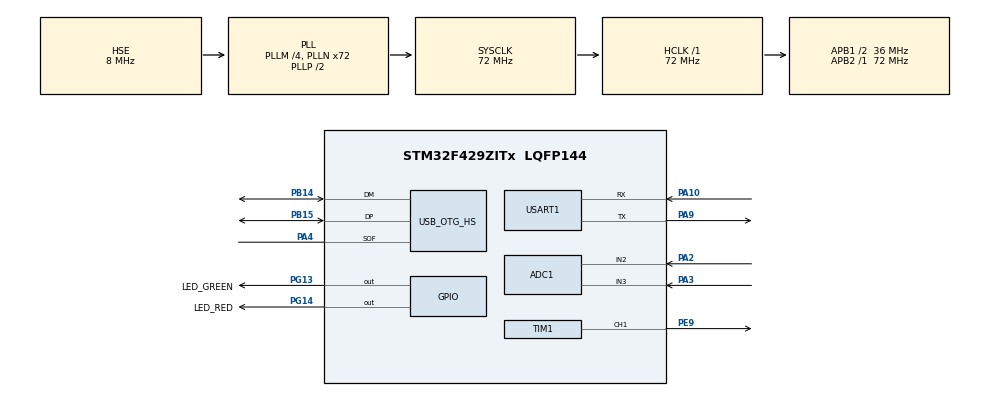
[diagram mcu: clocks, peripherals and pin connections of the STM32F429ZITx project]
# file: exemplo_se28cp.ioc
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ADC1.Channel-0\#ChannelRegularConversion=ADC_CHANNEL_2
ADC1.NbrOfConversionFlag=1
ADC1.Rank-0\#ChannelRegularConversion=1
ADC1.SamplingTime-0\#ChannelRegularConversion=ADC_SAMPLETIME_3CYCLES
ADC1.master=1
Dma.Request0=TIM1_CH1
Dma.TIM1_CH1.0.Direction=DMA_MEMORY_TO_PERIPH
Dma.TIM1_CH1.0.FIFOMode=DMA_FIFOMODE_DISABLE
Dma.TIM1_CH1.0.Instance=DMA2_Stream1
Dma.TIM1_CH1.0.MemDataAlignment=DMA_MDATAALIGN_HALFWORD
Dma.TIM1_CH1.0.MemInc=DMA_MINC_ENABLE
Dma.TIM1_CH1.0.Mode=DMA_NORMAL
Dma.TIM1_CH1.0.PeriphDataAlignment=DMA_PDATAALIGN_HALFWORD
Dma.TIM1_CH1.0.PeriphInc=DMA_PINC_DISABLE
Dma.TIM1_CH1.0.Priority=DMA_PRIORITY_VERY_HIGH
FREERTOS.INCLUDE_vTaskDelayUntil=1
FREERTOS.Tasks01=defaultTask,0,128,StartDefaultTask,Default,NULL,Dynamic,NULL,NULL
FREERTOS.configUSE_NEWLIB_REENTRANT=1
Mcu.Family=STM32F4
Mcu.Name=STM32F429ZITx
Mcu.Package=LQFP144
NVIC.DMA2_Stream1_IRQn=true\:5\:0\:false\:false\:true\:true\:false\:true
NVIC.OTG_HS_IRQn=true\:5\:0\:false\:false\:true\:true\:true\:true
NVIC.PriorityGroup=NVIC_PRIORITYGROUP_4
NVIC.TIM1_BRK_TIM9_IRQn=true\:5\:0\:false\:false\:true\:true\:true\:true
NVIC.TIM2_IRQn=true\:15\:0\:false\:false\:true\:false\:false\:true
NVIC.TimeBase=TIM2_IRQn
NVIC.TimeBaseIP=TIM2
NVIC.USART1_IRQn=true\:5\:0\:false\:false\:true\:true\:true\:true
PA10.Mode=Asynchronous
PA10.Signal=USART1_RX
PA13.Mode=Serial_Wire
PA13.Signal=SYS_JTMS-SWDIO
PA14.Mode=Serial_Wire
PA14.Signal=SYS_JTCK-SWCLK
PA2.Signal=ADCx_IN2
PA3.Signal=ADCx_IN3
PA4.Mode=Activate_SOF_FS
PA4.Signal=USB_OTG_HS_SOF
PA9.Mode=Asynchronous
PA9.Signal=USART1_TX
PB14.Mode=Device_Only_FS
PB14.Signal=USB_OTG_HS_DM
PB15.Mode=Device_Only_FS
PB15.Signal=USB_OTG_HS_DP
PE9.Signal=S_TIM1_CH1
PG13.GPIO_Label=LED_GREEN
PG13.Signal=GPIO_Output
PG14.GPIO_Label=LED_RED
PG14.Signal=GPIO_Output
PH0/OSC_IN.Mode=HSE-External-Oscillator
PH0/OSC_IN.Signal=RCC_OSC_IN
PH1/OSC_OUT.Mode=HSE-External-Oscillator
PH1/OSC_OUT.Signal=RCC_OSC_OUT
ProjectManager.HeapSize=0x200
ProjectManager.StackSize=0x400
ProjectManager.TargetToolchain=STM32CubeIDE
RCC.48MHZClocksFreq_Value=48000000
RCC.AHBFreq_Value=72000000
RCC.APB1CLKDivider=RCC_HCLK_DIV2
RCC.APB1Freq_Value=36000000
RCC.APB1TimFreq_Value=72000000
RCC.APB2Freq_Value=72000000
RCC.APB2TimFreq_Value=72000000
RCC.CortexFreq_Value=72000000
RCC.HCLKFreq_Value=72000000
RCC.HSE_VALUE=8000000
RCC.HSI_VALUE=16000000
RCC.LSE_VALUE=32768
RCC.PLLM=4
RCC.PLLN=72
RCC.PLLQ=3
RCC.SYSCLKFreq_VALUE=72000000
RCC.SYSCLKSource=RCC_SYSCLKSOURCE_PLLCLK
RCC.VCOOutputFreq_Value=144000000
SH.ADCx_IN2.0=ADC1_IN2,IN2
SH.ADCx_IN3.0=ADC1_IN3,IN3
SH.S_TIM1_CH1.0=TIM1_CH1,PWM Generation1 CH1
TIM1.AutoReloadPreload=TIM_AUTORELOAD_PRELOAD_ENABLE
TIM1.Channel-PWM\ Generation1\ CH1=TIM_CHANNEL_1
TIM1.Period=224
TIM9.Period=65000
USART1.VirtualMode=VM_ASYNC
USB_DEVICE.CLASS_NAME_HS=CDC
USB_DEVICE.VirtualMode-CDC_HS=Cdc
USB_DEVICE.VirtualModeHS=Cdc_HS
USB_OTG_HS.VirtualMode-Device_Only_FS=Device_Only_FS
VP_FREERTOS_VS_CMSIS_V1.Mode=CMSIS_V1
VP_SYS_VS_tim2.Mode=TIM2
VP_TIM1_VS_ClockSourceINT.Mode=Internal
VP_TIM9_VS_ClockSourceINT.Mode=Internal
VP_USB_DEVICE_VS_USB_DEVICE_CDC_HS.Mode=CDC_HS
board=custom

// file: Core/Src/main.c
/* USER CODE BEGIN Header */
/**
  ******************************************************************************
  * @file           : main.c
  * @brief          : Main program body
  ******************************************************************************
  * @attention
  *
  * Copyright (c) 2022 STMicroelectronics.
  * All rights reserved.
  *
  * This software is licensed under terms that can be found in the LICENSE file
  * in the root directory of this software component.
  * If no LICENSE file comes with this software, it is provided AS-IS.
  *
  ******************************************************************************
  */
/* USER CODE END Header */
#include "main.h"
#include "cmsis_os.h"
#include "usb_device.h"

/* USER CODE BEGIN Includes */
#include "usbd_cdc_if.h"
#include "FreeRTOS_CLI.h"
/* USER CODE END Includes */

ADC_HandleTypeDef hadc1;

TIM_HandleTypeDef htim1;
TIM_HandleTypeDef htim9;
DMA_HandleTypeDef hdma_tim1_ch1;

UART_HandleTypeDef huart1;

osThreadId defaultTaskHandle;
/* USER CODE BEGIN PV */
typedef struct led_t_ {
    uint32_t port_clock;
    GPIO_TypeDef *port_base;
    uint32_t port_pin;
    uint32_t time;
}led_t;
/* USER CODE END PV */

void SystemClock_Config(void);
static void MX_GPIO_Init(void);
static void MX_TIM9_Init(void);
static void MX_DMA_Init(void);
static void MX_TIM1_Init(void);
static void MX_USART1_UART_Init(void);
static void MX_ADC1_Init(void);
void StartDefaultTask(void const * argument);

/* USER CODE BEGIN 0 */
void task1(void *param){
    led_t *led = (led_t *)param;
	while(1){
		HAL_GPIO_TogglePin(led->port_base, led->port_pin);
		vTaskDelay(led->time);
	}
}

SemaphoreHandle_t sem_t2;
void task2(void *param){
	HAL_TIM_Base_Start_IT(&htim9);
    sem_t2 = xSemaphoreCreateBinary();

    while(1){
        xSemaphoreTake(sem_t2, portMAX_DELAY);
        HAL_GPIO_TogglePin(GPIOG, LED_RED_Pin);
    }
}

// Fast hsl2rgb algorithm: https://stackoverflow.com/questions/13105185/fast-algorithm-for-rgb-hsl-conversion
uint32_t hsl_to_rgb(uint8_t h, uint8_t s, uint8_t l) {
	if(l == 0) return 0;

	volatile uint8_t  r, g, b, lo, c, x, m;
	volatile uint16_t h1, l1, H;
	l1 = l + 1;
	if (l < 128)    c = ((l1 << 1) * s) >> 8;
	else            c = (512 - (l1 << 1)) * s >> 8;

	H = h * 6;              // 0 to 1535 (actually 1530)
	lo = H & 255;           // Low byte  = primary/secondary color mix
	h1 = lo + 1;

	if ((H & 256) == 0){
		x = h1 * c >> 8;          // even sextant, like red to yellow
	}
	else {
		x = (256 - h1) * c >> 8;  // odd sextant, like yellow to green
	}

	m = l - (c >> 1);
	switch(H >> 8) {       // High byte = sextant of colorwheel
	 case 0 : r = c; g = x; b = 0; break; // R to Y
	 case 1 : r = x; g = c; b = 0; break; // Y to G
	 case 2 : r = 0; g = c; b = x; break; // G to C
	 case 3 : r = 0; g = x; b = c; break; // C to B
	 case 4 : r = x; g = 0; b = c; break; // B to M
	 default: r = c; g = 0; b = x; break; // M to R
	}

	return (((uint32_t)r + m) << 16) | (((uint32_t)g + m) << 8) | ((uint32_t)b + m);
}

SemaphoreHandle_t sem_t3;

void HAL_TIM_PWM_PulseFinishedCallback(TIM_HandleTypeDef *htim)
{
	if (htim->Instance == TIM1) {
		portBASE_TYPE higher_task_woken = pdFALSE;
		HAL_TIM_PWM_Stop_DMA(htim, TIM_CHANNEL_1);

		xSemaphoreGiveFromISR(sem_t3, &higher_task_woken);
		portYIELD_FROM_ISR(higher_task_woken);
	}
}

#define LED_NUMBER	64
uint32_t color_buf[LED_NUMBER];
uint16_t pwmData[LED_NUMBER][24];

void WS2812_Send_buffer(uint32_t *color, uint32_t number_of_leds)
{
	for (int j=0; j<number_of_leds; j++) {
		for (int i=23; i>=0; i--)
		{
			if (color[j] & (1<<i))
			{
				pwmData[j][i] = 149;	// 66,6%
			}
			else {
				pwmData[j][i] = 74;		// 33,3%
			}
		}
	}

	HAL_TIM_PWM_Start_DMA(&htim1, TIM_CHANNEL_1, (uint32_t *)pwmData, 24 * number_of_leds);
	xSemaphoreTake(sem_t3, portMAX_DELAY);
}

void task3(void *param){
  /* Infinite loop */
  uint8_t angle = 0;
  const uint8_t angle_difference = 11;
  TickType_t last;

  sem_t3 = xSemaphoreCreateBinary();
  last = xTaskGetTickCount();
  while (1)
  {
	// Demo code for LED_NUMBER LEDs
	for(uint8_t i = 0; i < LED_NUMBER; i++) {
		// Calculate color
		color_buf[i] = hsl_to_rgb(angle + (i * angle_difference), 255, 127);
	}
	volatile TickType_t start = xTaskGetTickCount();
	WS2812_Send_buffer(color_buf, LED_NUMBER);
	volatile TickType_t finish = xTaskGetTickCount();
	(void)start;
	(void)finish;
	++angle;

	// Refresh 50 Hz
	vTaskDelayUntil(&last, 20);
  }
}

// Declares a semaphore structure for the UART
SemaphoreHandle_t sUART;

void HAL_UART_TxCpltCallback(UART_HandleTypeDef *huart){
    signed portBASE_TYPE pxHigherPriorityTaskWokenTX = pdFALSE;

    // Call the task that is sending the char
    xSemaphoreGiveFromISR(sUART, &pxHigherPriorityTaskWokenTX);
    portYIELD_FROM_ISR(pxHigherPriorityTaskWokenTX);
}

#include <string.h>
void task_serial(void *param){
  /* Infinite loop */
	int count = 0;
  char *string = "Teste de porta serial!\n\r";

  sUART = xSemaphoreCreateBinary();

  volatile TickType_t start = xTaskGetTickCount();
  while (1)
  {
	  //HAL_UART_Transmit(&huart1, (uint8_t *)string, strlen(string), 1000);

	  HAL_UART_Transmit_IT(&huart1, (uint8_t *)string, strlen(string));
      xSemaphoreTake(sUART, portMAX_DELAY);
	  //vTaskDelay(3);

	  count++;

	  volatile TickType_t stop = xTaskGetTickCount();
	  if ((stop - start) >= 1000){
		  start = stop;
	  }
  }
}

volatile int count_leftover = 0;
void task_cpu_leftover(void *param){
    TickType_t last;
    TickType_t frequency = 10;
    int i = 0;
    int result = 0;

    last = xTaskGetTickCount();

    while(1){
        for (i=0; i<1024; i++){
            result = result ^ i;
        }
        vTaskDelayUntil(&last, frequency);
        count_leftover++;
    }
}
/* USER CODE END 0 */

int main(void)
{

  /* MCU Configuration--------------------------------------------------------*/

  /* Reset of all peripherals, Initializes the Flash interface and the Systick. */
  HAL_Init();

  /* Configure the system clock */
  SystemClock_Config();

  /* Initialize all configured peripherals */
  MX_GPIO_Init();
  MX_TIM9_Init();
  MX_DMA_Init();
  MX_TIM1_Init();
  MX_USART1_UART_Init();
  MX_ADC1_Init();

  /* Create the thread(s) */
  /* definition and creation of defaultTask */
  osThreadDef(defaultTask, StartDefaultTask, osPriorityNormal, 2, 512);
  defaultTaskHandle = osThreadCreate(osThread(defaultTask), NULL);

  /* USER CODE BEGIN RTOS_THREADS */
  static led_t led_t1 = {0, GPIOG, LED_GREEN_Pin, 500};
  xTaskCreate(task1, "Tarefa 1", 256, &led_t1, 10, NULL);

  static led_t led_t2 = {0, GPIOG, LED_RED_Pin, 1000};
  xTaskCreate(task1, "Tarefa 2", 256, &led_t2, 9, NULL);

  //xTaskCreate(task2, "Tarefa 2", 256, NULL, 9, NULL);

  xTaskCreate(task3, "Tarefa 3", 256, NULL, 7, NULL);

  xTaskCreate(task_serial, "Tarefa serial", 256, NULL, 5, NULL);

  xTaskCreate(task_cpu_leftover, "Tarefa sobra cpu", 256, NULL, 1, NULL);
  /* USER CODE END RTOS_THREADS */

  /* Start scheduler */
  osKernelStart();

  /* We should never get here as control is now taken by the scheduler */
  /* Infinite loop */
  while (1)
  {

  }
}

void SystemClock_Config(void)
{
  RCC_OscInitTypeDef RCC_OscInitStruct = {0};
  RCC_ClkInitTypeDef RCC_ClkInitStruct = {0};

  /** Configure the main internal regulator output voltage
  */
  __HAL_RCC_PWR_CLK_ENABLE();
  __HAL_PWR_VOLTAGESCALING_CONFIG(PWR_REGULATOR_VOLTAGE_SCALE3);
  /** Initializes the RCC Oscillators according to the specified parameters
  * in the RCC_OscInitTypeDef structure.
  */
  RCC_OscInitStruct.OscillatorType = RCC_OSCILLATORTYPE_HSE;
  RCC_OscInitStruct.HSEState = RCC_HSE_ON;
  RCC_OscInitStruct.PLL.PLLState = RCC_PLL_ON;
  RCC_OscInitStruct.PLL.PLLSource = RCC_PLLSOURCE_HSE;
  RCC_OscInitStruct.PLL.PLLM = 4;
  RCC_OscInitStruct.PLL.PLLN = 72;
  RCC_OscInitStruct.PLL.PLLP = RCC_PLLP_DIV2;
  RCC_OscInitStruct.PLL.PLLQ = 3;
  if (HAL_RCC_OscConfig(&RCC_OscInitStruct) != HAL_OK)
  {
    Error_Handler();
  }
  /** Initializes the CPU, AHB and APB buses clocks
  */
  RCC_ClkInitStruct.ClockType = RCC_CLOCKTYPE_HCLK|RCC_CLOCKTYPE_SYSCLK
                              |RCC_CLOCKTYPE_PCLK1|RCC_CLOCKTYPE_PCLK2;
  RCC_ClkInitStruct.SYSCLKSource = RCC_SYSCLKSOURCE_PLLCLK;
  RCC_ClkInitStruct.AHBCLKDivider = RCC_SYSCLK_DIV1;
  RCC_ClkInitStruct.APB1CLKDivider = RCC_HCLK_DIV2;
  RCC_ClkInitStruct.APB2CLKDivider = RCC_HCLK_DIV1;

  if (HAL_RCC_ClockConfig(&RCC_ClkInitStruct, FLASH_LATENCY_2) != HAL_OK)
  {
    Error_Handler();
  }
}

static void MX_ADC1_Init(void)
{

  ADC_ChannelConfTypeDef sConfig = {0};

  /** Configure the global features of the ADC (Clock, Resolution, Data Alignment and number of conversion)
  */
  hadc1.Instance = ADC1;
  hadc1.Init.ClockPrescaler = ADC_CLOCK_SYNC_PCLK_DIV2;
  hadc1.Init.Resolution = ADC_RESOLUTION_12B;
  hadc1.Init.ScanConvMode = DISABLE;
  hadc1.Init.ContinuousConvMode = DISABLE;
  hadc1.Init.DiscontinuousConvMode = DISABLE;
  hadc1.Init.ExternalTrigConvEdge = ADC_EXTERNALTRIGCONVEDGE_NONE;
  hadc1.Init.ExternalTrigConv = ADC_SOFTWARE_START;
  hadc1.Init.DataAlign = ADC_DATAALIGN_RIGHT;
  hadc1.Init.NbrOfConversion = 1;
  hadc1.Init.DMAContinuousRequests = DISABLE;
  hadc1.Init.EOCSelection = ADC_EOC_SINGLE_CONV;
  if (HAL_ADC_Init(&hadc1) != HAL_OK)
  {
    Error_Handler();
  }
  /** Configure for the selected ADC regular channel its corresponding rank in the sequencer and its sample time.
  */
  sConfig.Channel = ADC_CHANNEL_2;
  sConfig.Rank = 1;
  sConfig.SamplingTime = ADC_SAMPLETIME_3CYCLES;
  if (HAL_ADC_ConfigChannel(&hadc1, &sConfig) != HAL_OK)
  {
    Error_Handler();
  }

}

static void MX_TIM1_Init(void)
{

  TIM_ClockConfigTypeDef sClockSourceConfig = {0};
  TIM_MasterConfigTypeDef sMasterConfig = {0};
  TIM_OC_InitTypeDef sConfigOC = {0};
  TIM_BreakDeadTimeConfigTypeDef sBreakDeadTimeConfig = {0};

  htim1.Instance = TIM1;
  htim1.Init.Prescaler = 0;
  htim1.Init.CounterMode = TIM_COUNTERMODE_UP;
  htim1.Init.Period = 224;
  htim1.Init.ClockDivision = TIM_CLOCKDIVISION_DIV1;
  htim1.Init.RepetitionCounter = 0;
  htim1.Init.AutoReloadPreload = TIM_AUTORELOAD_PRELOAD_ENABLE;
  if (HAL_TIM_Base_Init(&htim1) != HAL_OK)
  {
    Error_Handler();
  }
  sClockSourceConfig.ClockSource = TIM_CLOCKSOURCE_INTERNAL;
  if (HAL_TIM_ConfigClockSource(&htim1, &sClockSourceConfig) != HAL_OK)
  {
    Error_Handler();
  }
  if (HAL_TIM_PWM_Init(&htim1) != HAL_OK)
  {
    Error_Handler();
  }
  sMasterConfig.MasterOutputTrigger = TIM_TRGO_RESET;
  sMasterConfig.MasterSlaveMode = TIM_MASTERSLAVEMODE_DISABLE;
  if (HAL_TIMEx_MasterConfigSynchronization(&htim1, &sMasterConfig) != HAL_OK)
  {
    Error_Handler();
  }
  sConfigOC.OCMode = TIM_OCMODE_PWM1;
  sConfigOC.Pulse = 0;
  sConfigOC.OCPolarity = TIM_OCPOLARITY_HIGH;
  sConfigOC.OCNPolarity = TIM_OCNPOLARITY_HIGH;
  sConfigOC.OCFastMode = TIM_OCFAST_DISABLE;
  sConfigOC.OCIdleState = TIM_OCIDLESTATE_RESET;
  sConfigOC.OCNIdleState = TIM_OCNIDLESTATE_RESET;
  if (HAL_TIM_PWM_ConfigChannel(&htim1, &sConfigOC, TIM_CHANNEL_1) != HAL_OK)
  {
    Error_Handler();
  }
  sBreakDeadTimeConfig.OffStateRunMode = TIM_OSSR_DISABLE;
  sBreakDeadTimeConfig.OffStateIDLEMode = TIM_OSSI_DISABLE;
  sBreakDeadTimeConfig.LockLevel = TIM_LOCKLEVEL_OFF;
  sBreakDeadTimeConfig.DeadTime = 0;
  sBreakDeadTimeConfig.BreakState = TIM_BREAK_DISABLE;
  sBreakDeadTimeConfig.BreakPolarity = TIM_BREAKPOLARITY_HIGH;
  sBreakDeadTimeConfig.AutomaticOutput = TIM_AUTOMATICOUTPUT_DISABLE;
  if (HAL_TIMEx_ConfigBreakDeadTime(&htim1, &sBreakDeadTimeConfig) != HAL_OK)
  {
    Error_Handler();
  }
  HAL_TIM_MspPostInit(&htim1);

}

static void MX_TIM9_Init(void)
{

  TIM_ClockConfigTypeDef sClockSourceConfig = {0};

  htim9.Instance = TIM9;
  htim9.Init.Prescaler = 0;
  htim9.Init.CounterMode = TIM_COUNTERMODE_UP;
  htim9.Init.Period = 65000;
  htim9.Init.ClockDivision = TIM_CLOCKDIVISION_DIV1;
  htim9.Init.AutoReloadPreload = TIM_AUTORELOAD_PRELOAD_DISABLE;
  if (HAL_TIM_Base_Init(&htim9) != HAL_OK)
  {
    Error_Handler();
  }
  sClockSourceConfig.ClockSource = TIM_CLOCKSOURCE_INTERNAL;
  if (HAL_TIM_ConfigClockSource(&htim9, &sClockSourceConfig) != HAL_OK)
  {
    Error_Handler();
  }

}

static void MX_USART1_UART_Init(void)
{

  huart1.Instance = USART1;
  huart1.Init.BaudRate = 115200;
  huart1.Init.WordLength = UART_WORDLENGTH_8B;
  huart1.Init.StopBits = UART_STOPBITS_1;
  huart1.Init.Parity = UART_PARITY_NONE;
  huart1.Init.Mode = UART_MODE_TX_RX;
  huart1.Init.HwFlowCtl = UART_HWCONTROL_NONE;
  huart1.Init.OverSampling = UART_OVERSAMPLING_16;
  if (HAL_UART_Init(&huart1) != HAL_OK)
  {
    Error_Handler();
  }

}

static void MX_DMA_Init(void)
{

  /* DMA controller clock enable */
  __HAL_RCC_DMA2_CLK_ENABLE();

  /* DMA interrupt init */
  /* DMA2_Stream1_IRQn interrupt configuration */
  HAL_NVIC_SetPriority(DMA2_Stream1_IRQn, 5, 0);
  HAL_NVIC_EnableIRQ(DMA2_Stream1_IRQn);

}

static void MX_GPIO_Init(void)
{
  GPIO_InitTypeDef GPIO_InitStruct = {0};

  /* GPIO Ports Clock Enable */
  __HAL_RCC_GPIOH_CLK_ENABLE();
  __HAL_RCC_GPIOA_CLK_ENABLE();
  __HAL_RCC_GPIOE_CLK_ENABLE();
  __HAL_RCC_GPIOB_CLK_ENABLE();
  __HAL_RCC_GPIOG_CLK_ENABLE();

  /*Configure GPIO pin Output Level */
  HAL_GPIO_WritePin(GPIOG, LED_GREEN_Pin|LED_RED_Pin, GPIO_PIN_RESET);

  /*Configure GPIO pins : LED_GREEN_Pin LED_RED_Pin */
  GPIO_InitStruct.Pin = LED_GREEN_Pin|LED_RED_Pin;
  GPIO_InitStruct.Mode = GPIO_MODE_OUTPUT_PP;
  GPIO_InitStruct.Pull = GPIO_NOPULL;
  GPIO_InitStruct.Speed = GPIO_SPEED_FREQ_LOW;
  HAL_GPIO_Init(GPIOG, &GPIO_InitStruct);

}

/* USER CODE BEGIN 4 */
void initRTOSobj(void);
uint8_t read_usb_cdc(char *buffer, int buf_len, TickType_t timeout);

#define MAX_INPUT_LENGTH    64
#define MAX_OUTPUT_LENGTH   256

static BaseType_t prvTaskStatsCommand( char *pcWriteBuffer,
                                          size_t xWriteBufferLen,
										  const char *pcCommandString )
{
    static BaseType_t state = 0;

    if (!state){
        /* For simplicity, this function assumes the output buffer is large enough
        to hold all the text generated by executing the vTaskList() API function,
        so the xWriteBufferLen parameter is not used. */
        char *head = "Name           State  Priority  Stack  Number\n\r";
        ( void ) xWriteBufferLen;

        /* pcWriteBuffer is used directly as the vTaskList() parameter, so the table
        generated by executing vTaskList() is written directly into the output
        buffer. */
        strcpy(pcWriteBuffer, head);
        vTaskList( &pcWriteBuffer[strlen(head)]);

        /* The entire table was written directly to the output buffer.  Execution
        of this command is complete, so return pdFALSE. */
        state = 1;
        return pdTRUE;
    }else{
        state = 0;
        strcpy(pcWriteBuffer, "\n\r");
        return pdFALSE;
    }
}

static const CLI_Command_Definition_t xTasksCommand =
{
    "tasks",
	"\r\ntasks:\r\n Lists all the installed tasks\r\n\r\n",
	prvTaskStatsCommand,
    0
};
/* USER CODE END 4 */

void StartDefaultTask(void const * argument)
{
  /* init code for USB_DEVICE */
  MX_USB_DEVICE_Init();
  /* USER CODE BEGIN 5 */
  initRTOSobj();
  int8_t cRxedChar, buffer[32], cInputIndex = 0;
  BaseType_t xMoreDataToFollow;
  /* The input and output buffers are declared static to keep them off the stack. */
  static int8_t pcOutputString[ MAX_OUTPUT_LENGTH ], pcInputString[ MAX_INPUT_LENGTH ];

  FreeRTOS_CLIRegisterCommand( &xTasksCommand );

  CDC_Transmit_HS(">>", 2);
  /* Infinite loop */
  for( ;; )
	 {
		 /* This implementation reads a single character at a time.  Wait in the
		 Blocked state until a character is received. */
		(void)read_usb_cdc(buffer, 32, portMAX_DELAY);
		cRxedChar = buffer[0];

		 if( cRxedChar == '\r' )
		 {
			 /* A newline character was received, so the input command string is
			 complete and can be processed.  Transmit a line separator, just to
			 make the output easier to read. */
			 CDC_Transmit_HS("\n\r", 2);

			 /* The command interpreter is called repeatedly until it returns
			 pdFALSE.  See the "Implementing a command" documentation for an
			 exaplanation of why this is. */
			 do
			 {
				 /* Send the command string to the command interpreter.  Any
				 output generated by the command interpreter will be placed in the
				 pcOutputString buffer. */
				 xMoreDataToFollow = FreeRTOS_CLIProcessCommand
							   (
								   pcInputString,   /* The command string.*/
								   pcOutputString,  /* The output buffer. */
								   MAX_OUTPUT_LENGTH/* The size of the output buffer. */
							   );

				 /* Write the output generated by the command interpreter to the
				 console. */
				 CDC_Transmit_HS( pcOutputString, strlen( pcOutputString ) );

			 } while( xMoreDataToFollow != pdFALSE );

			 /* All the strings generated by the input command have been sent.
			 Processing of the command is complete.  Clear the input string ready
			 to receive the next command. */
			 cInputIndex = 0;
			 memset( pcInputString, 0x00, MAX_INPUT_LENGTH );
			 CDC_Transmit_HS(">>", 2);
		 }
		 else
		 {
			 /* The if() clause performs the processing after a newline character
			 is received.  This else clause performs the processing if any other
			 character is received. */

			 if( cRxedChar == '\n' )
			 {
				 /* Ignore carriage returns. */
			 }
			 else if( cRxedChar == 0x7F )
			 {
				 /* Backspace was pressed.  Erase the last character in the input
				 buffer - if there are any. */
				 if( cInputIndex > 0 )
				 {
					 CDC_Transmit_HS( &cRxedChar, 1);
					 cInputIndex--;
					 pcInputString[ cInputIndex ] = '\0';
				 }
			 }
			 else if( cRxedChar == '\0' )
			 {
				 CDC_Transmit_HS("Welcome to FreeRTOS\n\r\n\r>>", strlen("Welcome to FreeRTOS\n\r\n\r>>"));
			 }
			 else if( cRxedChar == '\e' )
			 {
				 //repetir ultimo comando
			 }
			 else
			 {
				 /* A character was entered.  It was not a new line, backspace
				 or carriage return, so it is accepted as part of the input and
				 placed into the input buffer.  When a n is entered the complete
				 string will be passed to the command interpreter. */
				 if( cInputIndex < MAX_INPUT_LENGTH )
				 {
					 CDC_Transmit_HS( &cRxedChar, 1);
					 pcInputString[ cInputIndex ] = cRxedChar;
					 cInputIndex++;
				 }
			 }
		 }
	 }

	//CDC_Transmit_HS(buffer, len);
	//CDC_Transmit_HS(string1, 9);
	//CDC_Transmit_HS(string2, 9);
    //osDelay(100);
  //}
  /* USER CODE END 5 */
}

void HAL_TIM_PeriodElapsedCallback(TIM_HandleTypeDef *htim)
{
  if (htim->Instance == TIM2) {
    HAL_IncTick();
  }
  /* USER CODE BEGIN Callback 1 */
  if (htim->Instance == TIM9) {
	    portBASE_TYPE pxHigherPriorityTaskWoken = pdFALSE;

	    if (sem_t2 != NULL){
	        xSemaphoreGiveFromISR(sem_t2, &pxHigherPriorityTaskWoken);
	        portYIELD_FROM_ISR(pxHigherPriorityTaskWoken);
	    }
  }
  /* USER CODE END Callback 1 */
}

void Error_Handler(void)
{
  __disable_irq();
  while (1)
  {
  }
}
